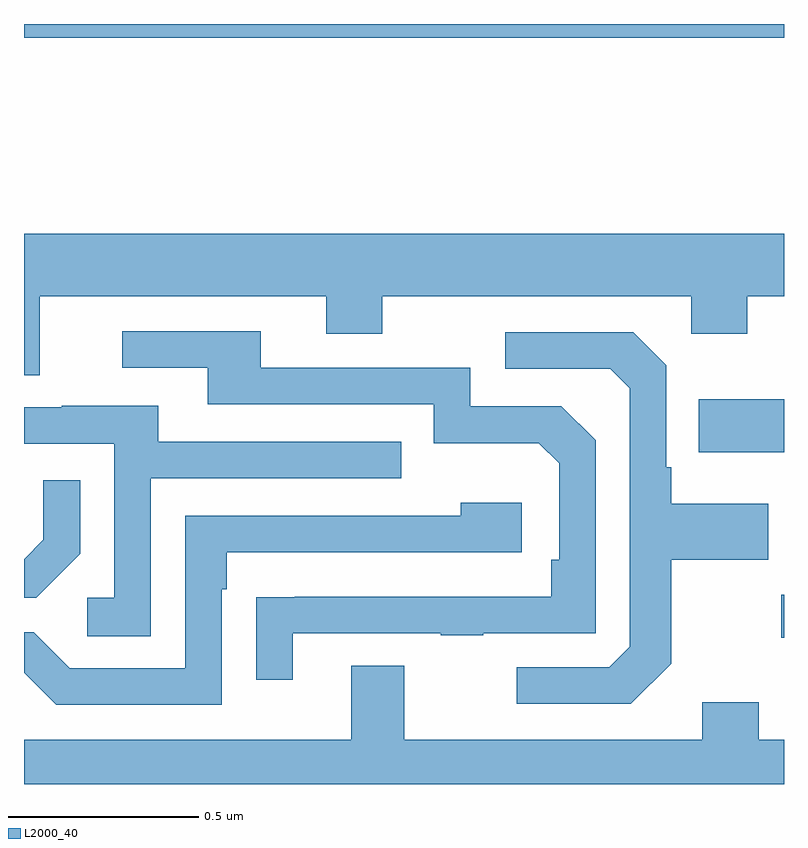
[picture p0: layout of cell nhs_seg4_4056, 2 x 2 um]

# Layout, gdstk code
import gdstk
lib = gdstk.Library(unit=1e-6, precision=1e-09)
def R(c, l, rs):  # rectangles x0, y0, x1, y1
    for r in rs: c.add(gdstk.rectangle(r[:2], r[2:], *l))
def P(c, l, *ps):  # polygons
    for p in ps: c.add(gdstk.Polygon(p, *l))
L2000_40 = (2000, 40)

nhs_seg4_4056 = lib.new_cell('nhs_seg4_4056')
R(nhs_seg4_4056, L2000_40, [(162.993,765.285,163,765.398), (162.775,765.773,163,765.913), (161,766.864,163,766.9)])
P(nhs_seg4_4056, L2000_40, [(161.041,766.184),(161.795,766.184),(161.795,766.085),(161.943,766.085),(161.943,766.184),(162.756,766.184),(162.756,766.085),(162.903,766.085),(162.903,766.184),(163,766.184),(163,766.348),(161,766.348),(161,765.976),(161.041,765.976)],
  [(161.707,765.297),(162.097,765.297),(162.097,765.292),(162.209,765.292),(162.209,765.297),(162.504,765.297),(162.504,765.804),(162.414,765.894),(162.174,765.894),(162.174,765.996),(161.623,765.996),(161.623,766.092),(161.259,766.092),(161.259,765.996),(161.483,765.996),(161.483,765.9),(162.078,765.9),(162.078,765.797),(162.355,765.797),(162.408,765.744),(162.408,765.49),(162.388,765.49),(162.388,765.393),(161.713,765.393),(161.713,765.392),(161.611,765.392),(161.611,765.174),(161.707,765.174)],
  [(162.703,765.217),(162.703,765.49),(162.959,765.49),(162.959,765.637),(162.703,765.637),(162.703,765.733),(162.69,765.733),(162.69,766.002),(162.603,766.089),(162.267,766.089),(162.267,765.993),(162.543,765.993),(162.594,765.942),(162.594,765.261),(162.54,765.207),(162.297,765.207),(162.297,765.111),(162.597,765.111)],
  [(161.334,765.705),(161.993,765.705),(161.993,765.801),(161.353,765.801),(161.353,765.895),(161.099,765.895),(161.099,765.891),(161,765.891),(161,765.795),(161.238,765.795),(161.238,765.39),(161.166,765.39),(161.166,765.289),(161.334,765.289)],
  [(161.148,765.506),(161.148,765.7),(161.051,765.7),(161.051,765.543),(161,765.492),(161,765.39),(161.032,765.39)],
  [(161.52,765.413),(161.533,765.413),(161.533,765.51),(162.31,765.51),(162.31,765.64),(162.149,765.64),(162.149,765.606),(161.424,765.606),(161.424,765.204),(161.121,765.204),(161.025,765.3),(161,765.3),(161,765.193),(161.085,765.108),(161.52,765.108)],
  [(163,765.016),(162.933,765.016),(162.933,765.115),(162.785,765.115),(162.785,765.016),(162.001,765.016),(162.001,765.211),(161.861,765.211),(161.861,765.016),(161,765.016),(161,764.9),(163,764.9)])

lib.write_gds('nhs_seg4_4056.gds')
